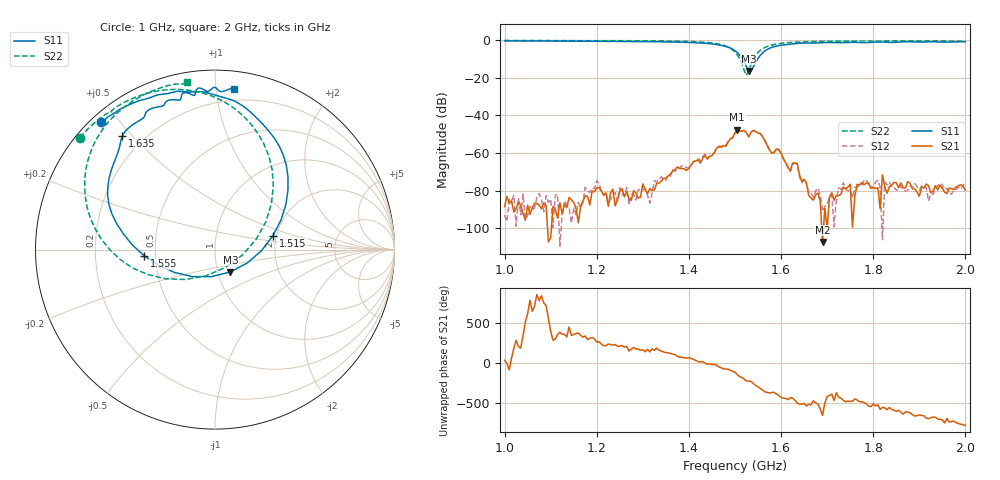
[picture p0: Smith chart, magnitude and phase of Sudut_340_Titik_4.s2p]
# Hz S RI R 50
! CMT, C1220, 16058040, 17.2.0/1
! Date: 14/08/2018 12:33:56
! Data: Format (Calibration Info)
! Freq  S11: Re/Im (F2)  S21: Re/Im (F2)  S12: Re/Im (F2)  S22: Re/Im (F2)
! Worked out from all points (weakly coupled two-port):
!   201 points, 1 GHz to 2 GHz, reference 50 ohm
!   highest |S21| = -47.59 dB at 1.505 GHz (marker M1); lowest = -107.3 dB at 1.69 GHz (marker M2)
!   lowest |S11| = -16.4 dB at 1.53 GHz (marker M3), VSWR 1.36, Z = 57.4 - j14.6 ohm
!   |S11| at or under -10 dB: 1.516 GHz to 1.549 GHz (33.23 MHz wide, 2.17 % of centre)
!   |S22| runs from -18.8 to -0.2 dB; largest |S21 - S12| = 0.00026
!   S11 on the Smith chart (normalised r, x): 1 GHz: 0.03, +0.45; 1.515 GHz: 1.92, +0.33; 1.555 GHz: 0.43, -0.04; 1.635 GHz: 0.12, +0.47; 2 GHz: 0.12, +1.12
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1e9  -0.6339 0.7088  3.04e-05 2.26e-05  -1.06e-05 2.02e-05  -0.7532 0.6241
1.17e9  -0.4565 0.8166  4.39e-05 -3.01e-05  3.98e-05 -3.04e-05  -0.6171 0.7492
1.2e9  -0.4135 0.8325  -1.25e-05 -0.000119  -2.6e-05 -0.000184  -0.5836 0.7624
1.21e9  -0.4043 0.8345  -5.06e-05 -8.39e-05  -6.2e-05 -7.74e-05  -0.5793 0.7665
1.32e9  -0.2125 0.8824  -0.000102 -1.22e-07  -8.51e-05 5.73e-06  -0.4305 0.8538
1.335e9  -0.1911 0.8807  -0.000152 4.66e-05  -0.00018 8.95e-05  -0.4018 0.8635
1.45e9  0.1927 0.7703  0.000823 -0.000248  0.000836 -0.000303  0.0201 0.8391
1.5e9  0.4066 0.3319  -0.00145 -0.00319  -0.0014 -0.00302  0.325 0.3534
1.505e9  0.395 0.251  -0.00333 -0.00251  -0.00315 -0.0025  0.3142 0.2566
1.515e9  0.323 0.0776  -0.0038 1.12e-05  -0.00389 -0.000117  0.2286 0.0564
1.53e9  0.0859 -0.124  -0.00195 0.00184  -0.00201 0.00189  -0.0516 -0.1465
1.555e9  -0.3941 -0.0345  0.00243 0.0022  0.00235 0.00234  -0.5325 -0.052
1.62e9  -0.5328 0.5684  0.000102 -0.000324  0.000115 -0.000299  -0.7081 0.4979
1.635e9  -0.5166 0.6318  -0.000402 -0.000342  -0.000341 -0.000356  -0.6849 0.5637
1.645e9  -0.4917 0.6685  -0.000158 -7.91e-05  -0.000119 -0.00011  -0.6686 0.5999
1.67e9  -0.4067 0.7282  -2.08e-05 -5.21e-05  -4.51e-05 -4.9e-05  -0.6251 0.6711
1.69e9  -0.3865 0.7597  1.86e-06 3.9e-06  2.61e-05 -1.06e-05  -0.5922 0.7123
1.815e9  -0.1653 0.8747  -2.53e-05 2.2e-05  -0.000114 4.65e-05  -0.4056 0.8584
1.82e9  -0.154 0.8731  -0.000256 6.59e-05  -4.22e-06 2.66e-06  -0.3987 0.8616
1.835e9  -0.1219 0.8599  -0.000122 3.65e-05  -0.000152 7.58e-05  -0.3785 0.8717
1.97e9  0.0645 0.8877  0.000111 -2.43e-05  6.47e-05 -4.98e-05  -0.188 0.9228
2e9  0.1071 0.8929  4.85e-05 -9.18e-05  0.000111 -0.000136  -0.1553 0.9316
